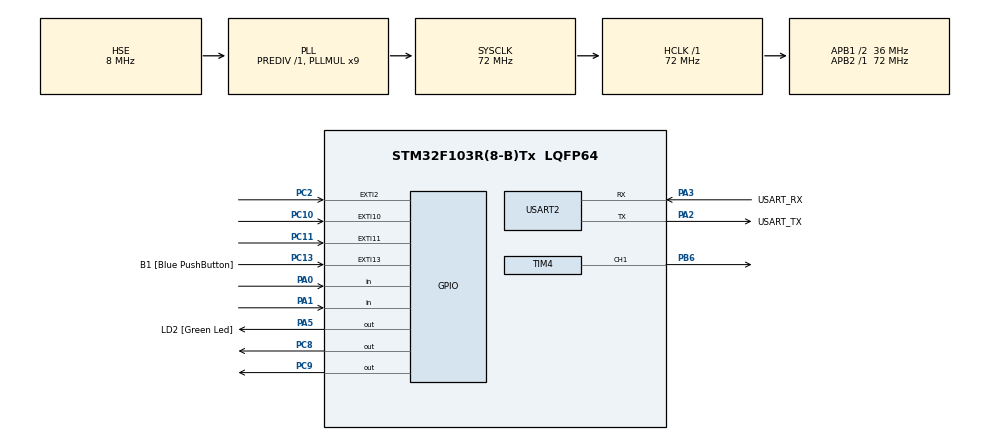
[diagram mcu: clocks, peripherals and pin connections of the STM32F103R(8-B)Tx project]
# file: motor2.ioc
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Mcu.Family=STM32F1
Mcu.Name=STM32F103R(8-B)Tx
Mcu.Package=LQFP64
NVIC.EXTI15_10_IRQn=true\:0\:0\:false\:false\:true\:true\:true\:true
NVIC.EXTI2_IRQn=true\:0\:0\:false\:false\:true\:true\:true\:true
NVIC.PriorityGroup=NVIC_PRIORITYGROUP_4
PA0-WKUP.Signal=GPIO_Input
PA1.Signal=GPIO_Input
PA13.GPIO_Label=TMS
PA13.Mode=Serial_Wire
PA13.Signal=SYS_JTMS-SWDIO
PA14.GPIO_Label=TCK
PA14.Mode=Serial_Wire
PA14.Signal=SYS_JTCK-SWCLK
PA2.GPIO_Label=USART_TX
PA2.GPIO_Mode=GPIO_MODE_AF_PP
PA2.GPIO_PuPd=GPIO_NOPULL
PA2.GPIO_Speed=GPIO_SPEED_FREQ_LOW
PA2.Mode=Asynchronous
PA2.Signal=USART2_TX
PA3.GPIO_Label=USART_RX
PA3.GPIO_Mode=GPIO_MODE_AF_PP
PA3.GPIO_PuPd=GPIO_NOPULL
PA3.GPIO_Speed=GPIO_SPEED_FREQ_LOW
PA3.Mode=Asynchronous
PA3.Signal=USART2_RX
PA5.GPIO_Label=LD2 [Green Led]
PA5.GPIO_ModeDefaultOutputPP=GPIO_MODE_OUTPUT_PP
PA5.GPIO_PuPd=GPIO_NOPULL
PA5.GPIO_Speed=GPIO_SPEED_FREQ_LOW
PA5.Signal=GPIO_Output
PB3.GPIO_Label=SWO
PB3.Signal=SYS_JTDO-TRACESWO
PB6.Signal=S_TIM4_CH1
PC10.GPIO_PuPd=GPIO_PULLDOWN
PC10.Signal=GPXTI10
PC11.GPIO_PuPd=GPIO_PULLDOWN
PC11.Signal=GPXTI11
PC13-TAMPER-RTC.GPIO_Label=B1 [Blue PushButton]
PC13-TAMPER-RTC.GPIO_PuPd=GPIO_NOPULL
PC13-TAMPER-RTC.Signal=GPXTI13
PC14-OSC32_IN.Mode=LSE-External-Oscillator
PC14-OSC32_IN.Signal=RCC_OSC32_IN
PC15-OSC32_OUT.Mode=LSE-External-Oscillator
PC15-OSC32_OUT.Signal=RCC_OSC32_OUT
PC2.GPIO_PuPd=GPIO_PULLDOWN
PC2.Signal=GPXTI2
PC8.Signal=GPIO_Output
PC9.Signal=GPIO_Output
PD0-OSC_IN.Mode=HSE-External-Clock-Source
PD0-OSC_IN.Signal=RCC_OSC_IN
PD1-OSC_OUT.Mode=HSE-External-Clock-Source
PD1-OSC_OUT.Signal=RCC_OSC_OUT
ProjectManager.HeapSize=0x200
ProjectManager.StackSize=0x400
ProjectManager.TargetToolchain=STM32CubeIDE
RCC.AHBFreq_Value=72000000
RCC.APB1CLKDivider=RCC_HCLK_DIV2
RCC.APB1Freq_Value=36000000
RCC.APB1TimFreq_Value=72000000
RCC.APB2Freq_Value=72000000
RCC.APB2TimFreq_Value=72000000
RCC.DATA_CACHE_ENABLE=1
RCC.HCLKFreq_Value=72000000
RCC.INSTRUCTION_CACHE_ENABLE=1
RCC.PLLMUL=RCC_PLL_MUL9
RCC.PLLSourceVirtual=RCC_PLLSOURCE_HSE
RCC.PWREXT_OverDrive=PWREXT_OverDrive_DESACTIVATED
RCC.PWR_Regulator_Voltage_Scale=PWR_REGULATOR_VOLTAGE_SCALE1
RCC.RCC_TIM_PRescaler_Selection=RCC_TIMPRES_DESACTIVATED
RCC.RTCClockSelection=RCC_RTCCLKSOURCE_LSE
RCC.SYSCLKFreq_VALUE=72000000
RCC.SYSCLKSource=RCC_SYSCLKSOURCE_PLLCLK
RCC.USBFreq_Value=72000000
SH.S_TIM4_CH1.0=TIM4_CH1,PWM Generation1 CH1
TIM4.AutoReloadPreload=TIM_AUTORELOAD_PRELOAD_ENABLE
TIM4.Channel-PWM\ Generation1\ CH1=TIM_CHANNEL_1
TIM4.Period=1000
TIM4.Pulse-PWM\ Generation1\ CH1=0
USART2.VirtualMode=VM_ASYNC
VP_TIM4_VS_ClockSourceINT.Mode=Internal
board=NUCLEO-F103RB

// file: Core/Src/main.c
/* USER CODE BEGIN Header */
/**
  ******************************************************************************
  * @file           : main.c
  * @brief          : Main program body
  ******************************************************************************
  * @attention
  *
  * Copyright (c) 2024 STMicroelectronics.
  * All rights reserved.
  *
  * This software is licensed under terms that can be found in the LICENSE file
  * in the root directory of this software component.
  * If no LICENSE file comes with this software, it is provided AS-IS.
  *
  ******************************************************************************
  */
/* USER CODE END Header */
#include "main.h"
#include "tim.h"
#include "usart.h"
#include "gpio.h"

/* USER CODE BEGIN PD */
volatile int counter = 0;
volatile int rev = 0;
volatile int check = 0;
/* USER CODE END PD */

void SystemClock_Config(void);

int main(void)
{

  /* MCU Configuration--------------------------------------------------------*/

  /* Reset of all peripherals, Initializes the Flash interface and the Systick. */
  HAL_Init();

  /* Configure the system clock */
  SystemClock_Config();

  /* Initialize all configured peripherals */
  MX_GPIO_Init();
  MX_USART2_UART_Init();
  MX_TIM4_Init();
  /* USER CODE BEGIN 2 */

  HAL_TIM_Base_Start(&htim4);
  HAL_TIM_PWM_Start(&htim4,TIM_CHANNEL_1);
  //HAL_TIM_PWM_Start(&htim4,TIM_CHANNEL_2);

  //Speed_Control(0);
  check = 1;
  quarter_cycle_acw();
  check = 2;
  /* USER CODE END 2 */

  /* Infinite loop */
  while (1)
  {

  }
}

void SystemClock_Config(void)
{
  RCC_OscInitTypeDef RCC_OscInitStruct = {0};
  RCC_ClkInitTypeDef RCC_ClkInitStruct = {0};

  /** Initializes the RCC Oscillators according to the specified parameters
  * in the RCC_OscInitTypeDef structure.
  */
  RCC_OscInitStruct.OscillatorType = RCC_OSCILLATORTYPE_HSE;
  RCC_OscInitStruct.HSEState = RCC_HSE_BYPASS;
  RCC_OscInitStruct.HSEPredivValue = RCC_HSE_PREDIV_DIV1;
  RCC_OscInitStruct.HSIState = RCC_HSI_ON;
  RCC_OscInitStruct.PLL.PLLState = RCC_PLL_ON;
  RCC_OscInitStruct.PLL.PLLSource = RCC_PLLSOURCE_HSE;
  RCC_OscInitStruct.PLL.PLLMUL = RCC_PLL_MUL9;
  if (HAL_RCC_OscConfig(&RCC_OscInitStruct) != HAL_OK)
  {
    Error_Handler();
  }

  /** Initializes the CPU, AHB and APB buses clocks
  */
  RCC_ClkInitStruct.ClockType = RCC_CLOCKTYPE_HCLK|RCC_CLOCKTYPE_SYSCLK
                              |RCC_CLOCKTYPE_PCLK1|RCC_CLOCKTYPE_PCLK2;
  RCC_ClkInitStruct.SYSCLKSource = RCC_SYSCLKSOURCE_PLLCLK;
  RCC_ClkInitStruct.AHBCLKDivider = RCC_SYSCLK_DIV1;
  RCC_ClkInitStruct.APB1CLKDivider = RCC_HCLK_DIV2;
  RCC_ClkInitStruct.APB2CLKDivider = RCC_HCLK_DIV1;

  if (HAL_RCC_ClockConfig(&RCC_ClkInitStruct, FLASH_LATENCY_2) != HAL_OK)
  {
    Error_Handler();
  }
}

/* USER CODE BEGIN 4 */
void Speed_Control(int a)
{
	__HAL_TIM_SetCompare(&htim4, TIM_CHANNEL_1, a);
	//__HAL_TIM_SetCompare(&htim4, TIM_CHANNEL_2, a);
}

void Direction(int a)
{
	if(a==1)
	{
		HAL_GPIO_WritePin(GPIOC, GPIO_PIN_8, GPIO_PIN_SET);
		HAL_GPIO_WritePin(GPIOC, GPIO_PIN_9, GPIO_PIN_RESET);
	}
	if(a==0)
	{
		HAL_GPIO_WritePin(GPIOC, GPIO_PIN_8, GPIO_PIN_RESET);
		HAL_GPIO_WritePin(GPIOC, GPIO_PIN_9, GPIO_PIN_SET);
	}
}

void HAL_GPIO_EXTI_Callback(uint16_t GPIO_Pin)
{
	if(GPIO_Pin == GPIO_PIN_2)
	{
			counter++;
			if(counter == 588)
			{
				Speed_Control(0);
				counter = 0;
			}
	}
	if(GPIO_Pin == GPIO_PIN_10)
	{
		Speed_Control(0);
		counter = 0;
	}
	if(GPIO_Pin == GPIO_PIN_11)
	{
		Speed_Control(0);
		counter = 0;
	}
}

void encoder(void)
{
	counter++;
	if(counter == 588)
	{
		Speed_Control(0);
		counter = 0;
	}
}
void quarter_cycle_cw(void)
{
	Direction(0);
	Speed_Control(1000);
}
void quarter_cycle_acw(void)
{
	Direction(1);
	Speed_Control(1000);
}
/* USER CODE END 4 */

void Error_Handler(void)
{
  __disable_irq();
  while (1)
  {
  }
}
